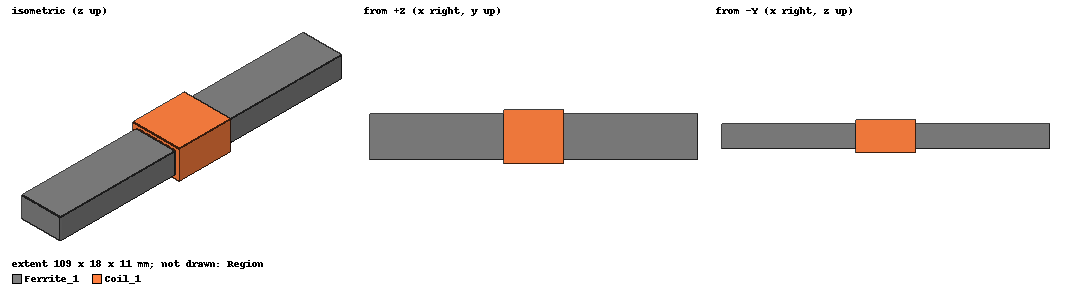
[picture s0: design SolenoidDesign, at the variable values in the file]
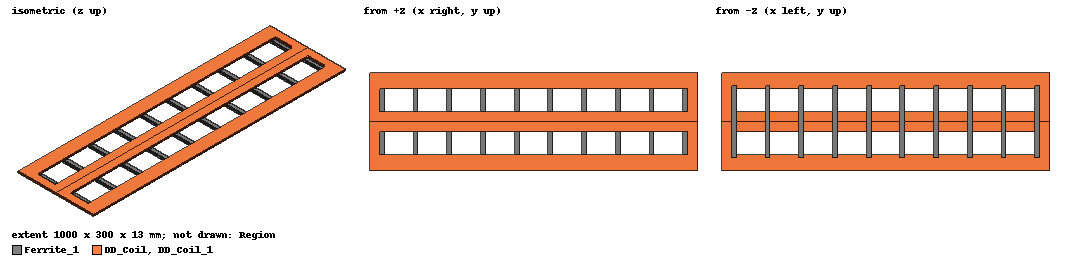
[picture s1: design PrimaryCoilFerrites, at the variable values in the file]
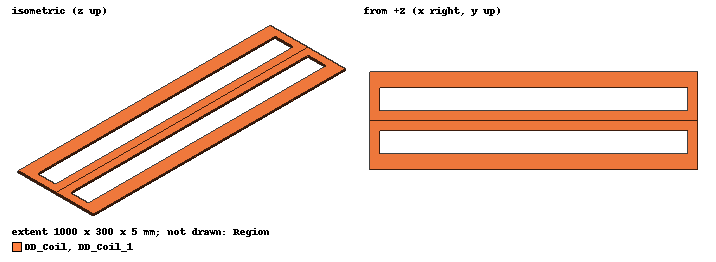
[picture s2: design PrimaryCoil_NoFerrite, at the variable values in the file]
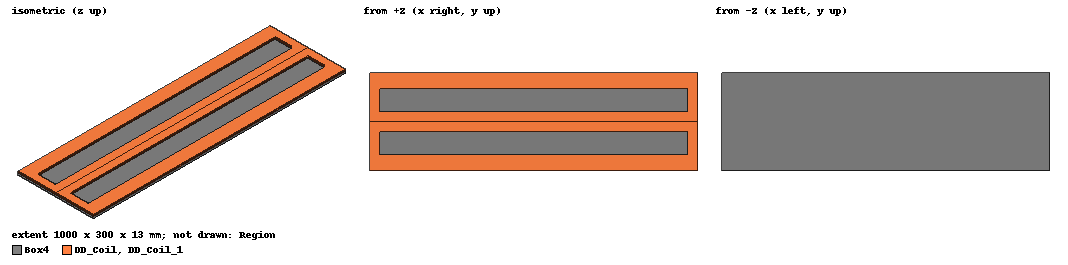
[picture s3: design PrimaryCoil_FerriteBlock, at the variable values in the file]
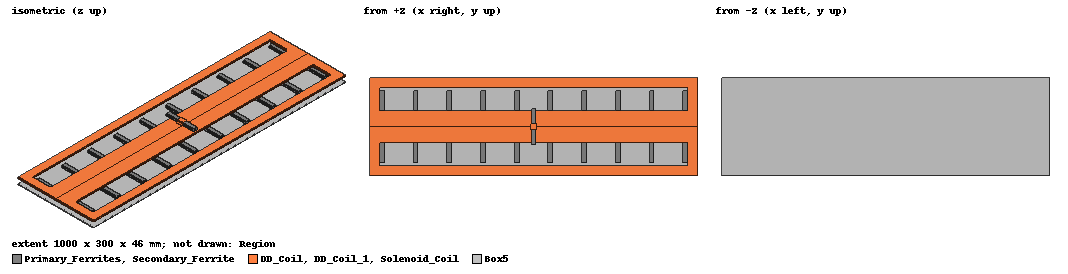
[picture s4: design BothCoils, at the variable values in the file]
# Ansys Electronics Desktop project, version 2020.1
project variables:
  $P1 = 10mm
  $track_width = 300mm
  $box_width = ($track_width - 2*$parameter_2 - $parameter_1) / 2  # Do not change -Width of inner gaps
  $coil_diameter = 5mm  # Thickness of coil
  $parameter_1 = 100mm  # DD Coil Centre width
  $parameter_2 = 30mm  # DD Coil side width
  $Parameter_3 = 109mm  # Ferrite length secondary
  $Parameter_4 = 20mm  # Coil width secondary
  $parameter_5 = ($track_length - 2 * $parameter_2-15mm) / ($Num_Ferrites - 1)  # Do not change - spacing between ferrites
  $Parameter_6 = 218mm  # Ferrite length Primary 109 or 218
  $Num_Ferrites = 10  # ((1000mm - 2 * $parameter_2) / ($parameter_5)) + 1
  $track_length = 1000mm  # Length of the track
  $Air_Gap = 15mm  # Height of secondary solenoid above primary DD coil
  $X_displacement = 0mm  # Displacement of secondary solenoid X-axis(0 to length of track)
  $Y_displacement = 0mm  # displacement of secondary along y-axis
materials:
  vacuum: permittivity=1
  copper: permeability=0.999991 conductivity=58000000
  ferrite: permittivity=12 permeability=1000 conductivity=0.01
  pec: conductivity=1e+30
  aluminum: permeability=1.000021 conductivity=38000000

design SolenoidDesign (Maxwell 3D, Magnetostatic, model units mm)
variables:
  P = 25mm
  Parameter_3 = $Parameter_3
  Parameter_4 = $Parameter_4
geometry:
  Ferrite_1 [ferrite] = box(corner=(-54.5mm, -7.5mm, -4mm), size=(Parameter_3, 15mm, 8mm))
  Coil_1 [copper] = box(corner=(-$Parameter_4/2, -9mm, -5.5mm), size=(Parameter_4, 18mm, 11mm))
  Box3 = box(corner=(-$Parameter_4/2, -7.5mm, -4mm), size=(Parameter_4, 15mm, 8mm))
  Coil_1.subtract(Box3)
  Coil_1_Section1 [copper] = Coil_1.section(plane=XY)
  Coil_1_Section1.separate_bodies()
  Region [vacuum] = region(percentage_offset: +X=200, -X=200, +Y=800, -Y=800, +Z=1000, -Z=600)
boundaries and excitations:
  L_pt: Current Objects=Coil_1_Section1 Current=1A IsSolid=false Point_out_of_terminal=false
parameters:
  Matrix1: Matrix L_pt: NumberOfTurns=20
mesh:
  initial mesh: GlobalCurvilinear{Apply}
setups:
  Setup1: Magnetostatic MaximumPasses=30 MinimumPasses=2 MinimumConvergedPasses=1 PercentRefinement=30 PercentError=1 NonLinearResidual=0.001
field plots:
  B_Vector1: B over a plane on Setup1 : LastAdaptive
  Mesh1: MeshPlots in Coil_1 on Setup1 : LastAdaptive
  Mesh2: MeshPlots in Ferrite_1 on Setup1 : LastAdaptive
  Mesh3: MeshPlots in Region on Setup1 : LastAdaptive
  Mag_B1: B over Ferrite_1.face(+y) on Setup1 : LastAdaptive

design PrimaryCoilFerrites (Maxwell 3D, Magnetostatic, model units mm)
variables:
  b1_y = 50mm
  box1width = 30mm
  box2width = $box_width
  coil_diameter = $coil_diameter
  P_2 = $parameter_2
  P_1 = ($parameter_1) / 2
  Parameter_3 = $Parameter_3
  height_above_coil = 9mm
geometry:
  DD_Coil [copper] = box(corner=(-$track_length / 2, 0mm, 0mm), size=($track_length, $track_width / 2, coil_diameter))
  Box3 = box(corner=(-(1000mm-$parameter_2*2)/2, $parameter_2, 0mm), size=(1000mm-$parameter_2*2, box2width, coil_diameter))
  Box3_1 = Box3.duplicate_mirror(point=(100mm, 150mm, 0mm), normal=(0mm, -1mm, 0mm))
  DD_Coil.subtract(Box3, Box3_1)
  coordinate_system RelativeCS1 = origin=(0mm, 0mm, height_above_coil) x=(1mm, 0mm, 0mm) y=(0mm, 1mm, 0mm)
  Ferrite_1 [ferrite] = box(corner=(-(1000mm-$parameter_2*2)/2, -$Parameter_6/2, -17mm), size=(15mm, $Parameter_6, 8mm)) in RelativeCS1
  Ferrite_1.duplicate_along_line(step=($parameter_5, 0mm, 0mm), total=$Num_Ferrites, attached) in RelativeCS1
  DD_Coil_1 [copper] = DD_Coil.duplicate_mirror(point=(0mm, 0mm, 0mm), normal=(0mm, -1mm, 0mm)) in RelativeCS1
  DD_Coil_1_Section1 = DD_Coil_1.section(plane=YZ) in RelativeCS1
  DD_Coil_Section1 = DD_Coil.section(plane=YZ) in RelativeCS1
  DD_Coil_1_Section1_Separate1 [copper] = DD_Coil_1_Section1.separate_bodies()
  DD_Coil_1_Section1.delete()
  DD_Coil_Section1_Separate1 [copper] = DD_Coil_Section1.separate_bodies()
  DD_Coil_Section1.delete()
  Region [vacuum] = region(percentage_offset: +X=100, -X=100, +Y=500, -Y=500, +Z=3000, -Z=2000)
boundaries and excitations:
  Insulating1: Insulating Faces=DD_Coil.face(-y)
  Lpt_A: Current Objects=DD_Coil_1_Section1_Separate1 Current=1A IsSolid=false Point_out_of_terminal=false
  Lpt_B: Current Objects=DD_Coil_Section1_Separate1 Current=1A IsSolid=false Point_out_of_terminal=false
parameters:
  Matrix1: Matrix Lpt_A, Lpt_B: NumberOfTurns=1
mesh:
  initial mesh: GlobalCurvilinear{Apply}
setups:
  Setup1: Magnetostatic MaximumPasses=10 MinimumPasses=2 MinimumConvergedPasses=1 PercentRefinement=30 PercentError=1 NonLinearResidual=0.001
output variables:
  L_pt = Matrix1.Lnom(Lpt_A,Lpt_A)+Matrix1.Lnom(Lpt_B,Lpt_B)+Matrix1.Lnom(Lpt_B,Lpt_A)+Matrix1.Lnom(Lpt_A,Lpt_B)
  k_pt = Matrix1.CplCoef(Lpt_B,Lpt_A)
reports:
  Output Variables Table 1: L_pt, k_pt vs b1_y on Setup1 : LastAdaptive

design PrimaryCoil_NoFerrite (Maxwell 3D, Magnetostatic, model units mm)
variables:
  b1_y = 50mm
  box1width = 30mm
  box2width = $box_width
  coil_diameter = $coil_diameter
  P_2 = $parameter_2
  P_1 = ($parameter_1) / 2
  Parameter_3 = $Parameter_3
  height_above_coil = 9mm
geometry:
  DD_Coil [copper] = box(corner=(-$track_length / 2, 0mm, 0mm), size=($track_length, $track_width / 2, coil_diameter))
  Box3 = box(corner=(-(1000mm-$parameter_2*2)/2, $parameter_2, 0mm), size=(1000mm-$parameter_2*2, box2width, coil_diameter))
  Box3_1 = Box3.duplicate_mirror(point=(100mm, 150mm, 0mm), normal=(0mm, -1mm, 0mm))
  DD_Coil.subtract(Box3, Box3_1)
  coordinate_system RelativeCS1 = origin=(0mm, 0mm, height_above_coil) x=(1mm, 0mm, 0mm) y=(0mm, 1mm, 0mm)
  DD_Coil_1 [copper] = DD_Coil.duplicate_mirror(point=(0mm, 0mm, 0mm), normal=(0mm, -1mm, 0mm)) in RelativeCS1
  DD_Coil_1_Section1 = DD_Coil_1.section(plane=YZ) in RelativeCS1
  DD_Coil_Section1 = DD_Coil.section(plane=YZ) in RelativeCS1
  DD_Coil_1_Section1_Separate1 [copper] = DD_Coil_1_Section1.separate_bodies()
  DD_Coil_1_Section1.delete()
  DD_Coil_Section1_Separate1 [copper] = DD_Coil_Section1.separate_bodies()
  DD_Coil_Section1.delete()
  Region [vacuum] = region(percentage_offset: +X=100, -X=100, +Y=500, -Y=500, +Z=3000, -Z=2000)
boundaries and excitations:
  Insulating1: Insulating Faces=DD_Coil.face(-y)
  Lpt_A: Current Objects=DD_Coil_1_Section1_Separate1 Current=1A IsSolid=false Point_out_of_terminal=false
  Lpt_B: Current Objects=DD_Coil_Section1_Separate1 Current=1A IsSolid=false Point_out_of_terminal=false
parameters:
  Matrix1: Matrix Lpt_A, Lpt_B: NumberOfTurns=1
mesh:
  initial mesh: GlobalCurvilinear{Apply}
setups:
  Setup1: Magnetostatic MaximumPasses=15 MinimumPasses=2 MinimumConvergedPasses=1 PercentRefinement=30 PercentError=1 NonLinearResidual=0.001
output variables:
  L_pt = Matrix1.Lnom(Lpt_A,Lpt_A)+Matrix1.Lnom(Lpt_B,Lpt_B)+Matrix1.Lnom(Lpt_B,Lpt_A)+Matrix1.Lnom(Lpt_A,Lpt_B)
  k_pt = Matrix1.CplCoef(Lpt_B,Lpt_A)
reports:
  Output Variables Table 1: L_pt, k_pt vs b1_y on Setup1 : LastAdaptive

design PrimaryCoil_FerriteBlock (Maxwell 3D, Magnetostatic, model units mm)
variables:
  b1_y = 50mm
  box1width = 30mm
  box2width = $box_width
  coil_diameter = $coil_diameter
  P_2 = $parameter_2
  P_1 = ($parameter_1) / 2
  Parameter_3 = $Parameter_3
  height_above_coil = 9mm
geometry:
  DD_Coil [copper] = box(corner=(-$track_length / 2, 0mm, 0mm), size=($track_length, $track_width / 2, coil_diameter))
  Box3 = box(corner=(-(1000mm-$parameter_2*2)/2, $parameter_2, 0mm), size=(1000mm-$parameter_2*2, box2width, coil_diameter))
  Box3_1 = Box3.duplicate_mirror(point=(100mm, 150mm, 0mm), normal=(0mm, -1mm, 0mm))
  DD_Coil.subtract(Box3, Box3_1)
  coordinate_system RelativeCS1 = origin=(0mm, 0mm, height_above_coil) x=(1mm, 0mm, 0mm) y=(0mm, 1mm, 0mm)
  DD_Coil_1 [copper] = DD_Coil.duplicate_mirror(point=(0mm, 0mm, 0mm), normal=(0mm, -1mm, 0mm)) in RelativeCS1
  DD_Coil_1_Section1 = DD_Coil_1.section(plane=YZ) in RelativeCS1
  DD_Coil_Section1 = DD_Coil.section(plane=YZ) in RelativeCS1
  DD_Coil_1_Section1_Separate1 [copper] = DD_Coil_1_Section1.separate_bodies()
  DD_Coil_1_Section1.delete()
  DD_Coil_Section1_Separate1 [copper] = DD_Coil_Section1.separate_bodies()
  DD_Coil_Section1.delete()
  Region [vacuum] = region(percentage_offset: +X=100, -X=100, +Y=500, -Y=500, +Z=3000, -Z=2000)
  Box4 [ferrite] = box(corner=(-500mm, -150mm, -8mm), size=(1000mm, 300mm, 8mm))
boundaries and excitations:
  Insulating1: Insulating Faces=DD_Coil.face(-y)
  Lpt_A: Current Objects=DD_Coil_1_Section1_Separate1 Current=1A IsSolid=false Point_out_of_terminal=false
  Lpt_B: Current Objects=DD_Coil_Section1_Separate1 Current=1A IsSolid=false Point_out_of_terminal=false
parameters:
  Matrix1: Matrix Lpt_A, Lpt_B: NumberOfTurns=1
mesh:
  initial mesh: GlobalCurvilinear{Apply}
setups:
  Setup1: Magnetostatic MaximumPasses=15 MinimumPasses=2 MinimumConvergedPasses=1 PercentRefinement=30 PercentError=1 NonLinearResidual=0.001
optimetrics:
  ParametricSetup1: Parametric Sim._Setups=[Setup1]
    sweep $parameter_1: LIN 50mm 125mm 10mm
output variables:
  L_pt = Matrix1.Lnom(Lpt_A,Lpt_A)+Matrix1.Lnom(Lpt_B,Lpt_B)+Matrix1.Lnom(Lpt_B,Lpt_A)+Matrix1.Lnom(Lpt_A,Lpt_B)
  k_pt = Matrix1.CplCoef(Lpt_B,Lpt_A)
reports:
  Output Variables Table 1: L_pt, k_pt vs b1_y on Setup1 : LastAdaptive

design BothCoils (Maxwell 3D, EddyCurrent, model units mm)
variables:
  b1_y = 50mm
  box1width = 30mm
  box2width = $box_width
  coil_diameter = $coil_diameter
  P_2 = $parameter_2
  P_1 = ($parameter_1)
  Parameter_3 = $Parameter_3
  height_above_coil = 9mm
  Parameter_4 = $Parameter_4
  I_pt_post = 20A
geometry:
  DD_Coil [copper] = box(corner=(-$track_length / 2, 0mm, 0mm), size=($track_length, $track_width / 2, coil_diameter))
  Box3 = box(corner=(-(1000mm-$parameter_2*2)/2, $parameter_1 /2, 0mm), size=(1000mm-$parameter_2*2, box2width, coil_diameter))
  Box3_1 = Box3.duplicate_mirror(point=(100mm, 150mm, 0mm), normal=(0mm, -1mm, 0mm))
  DD_Coil.subtract(Box3, Box3_1)
  Primary_Ferrites [ferrite] = box(corner=(-(1000mm-$parameter_2*2)/2, -$Parameter_6/2, -8mm), size=(15mm, $Parameter_6, 8mm))
  Primary_Ferrites.duplicate_along_line(step=($parameter_5, 0mm, 0mm), total=$Num_Ferrites, attached)
  DD_Coil_1 [copper] = DD_Coil.duplicate_mirror(point=(0mm, 0mm, 0mm), normal=(0mm, -1mm, 0mm))
  Region [vacuum] = region(percentage_offset: +X=100, -X=100, +Y=500, -Y=500, +Z=3000, -Z=2000)
  coordinate_system RelativeCS1 = origin=(-$X_displacement, $Y_displacement, $Air_Gap) x=(1mm, 0mm, 0mm) y=(0mm, 1mm, 0mm)
  Secondary_Ferrite [ferrite, oriented by RelativeCS1] = box(corner=(-54.5mm + $Y_displacement, -7.5mm +$X_displacement, $Air_Gap+1.5mm), size=(Parameter_3, 15mm, 8mm))
  Solenoid_Coil [copper, oriented by RelativeCS1] = box(corner=(-$Parameter_4/2 +$Y_displacement, -9mm+$X_displacement, $Air_Gap), size=(Parameter_4, 18mm, 11mm))
  Box4 = box(corner=(-$Parameter_4/2 +$Y_displacement, -7.5mm+$X_displacement, $Air_Gap+1.5mm), size=(Parameter_4, 15mm, 8mm))
  Solenoid_Coil.subtract(Box4)
  [Secondary_Ferrite, Solenoid_Coil].rotate(axis=Z, angle=90deg)
  DD_Coil_1_Section1 = DD_Coil_1.section(plane=YZ)
  DD_Coil_Section1 = DD_Coil.section(plane=YZ)
  DD_Coil_1_Section1_Separate1 [copper] = DD_Coil_1_Section1.separate_bodies()
  DD_Coil_1_Section1.delete()
  DD_Coil_Section1_Separate1 [copper] = DD_Coil_Section1.separate_bodies()
  DD_Coil_Section1.delete()
  Box5 [pec] = box(corner=(500mm, -150mm, -18mm), size=(-1000mm, 300mm, -2mm))
  Solenoid_Coil_Section1 [copper, oriented by RelativeCS1] = Solenoid_Coil.section(plane=YZ) in RelativeCS1
  Solenoid_Coil_Section1.separate_bodies()
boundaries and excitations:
  Insulating1: Insulating Faces=DD_Coil.face(-y)
  Aluminium: Impedance Objects=Box5 UseMaterial MaterialName=aluminum NonlinearCoefficient=5
  Lpt_A: Current Objects=DD_Coil_1_Section1_Separate1 Phase=0deg Current=1A IsSolid=false Point_out_of_terminal=false
  Lpt_B: Current Objects=DD_Coil_Section1_Separate1 Phase=0deg Current=1A IsSolid=false Point_out_of_terminal=false
  Lst: Current Objects=Solenoid_Coil_Section1 Phase=0deg Current=1A IsSolid=false Point_out_of_terminal=false
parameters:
  Matrix1: Matrix Lpt_A, Lpt_B, Lst:
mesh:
  initial mesh: GlobalCurvilinear{Apply}
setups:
  Setup1: EddyCurrent MaximumPasses=17 MinimumPasses=2 MinimumConvergedPasses=1 PercentRefinement=30 PercentError=1 NonLinearResidual=0.0001 Frequency=150kHz
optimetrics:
  ParametricSetup1: Parametric disabled
    sweep $parameter_1: LIN 20mm 100mm 20mm
    sweep $parameter_2: LIN 10mm 50mm 10mm
    sweep $Parameter_4: LIN 10mm 30mm 10mm
    sweep $Num_Ferrites: LIN 2 10 1
    sweep $Parameter_6: LIN 109mm 218mm 109mm
    calculate k_new on ?
    calculate Lpt_new on ?
    calculate L_st on ?
  ParametricSetup2: Parametric disabled
    sweep $parameter_1: LIN 20mm 100mm 40mm
    sweep $parameter_2: LIN 10mm 50mm 20mm
    sweep $Parameter_4: LIN 10mm 30mm 10mm
    sweep $Num_Ferrites: LIN 2 12 4
    sweep $Parameter_6: LIN 109mm 218mm 109mm
    calculate k_new on ?
    calculate Mpt_st on ?
  ParametricSetup3: Parametric Sim._Setups=[Setup1]
    sweep $X_displacement: LIN 45mm 0mm -3mm
    sweep $Y_displacement: LIN 0mm 50mm 3mm
    calculate Lpt_new on Setup1 : LastAdaptive at Freq 150kHz
    calculate L_st on Setup1 : LastAdaptive at Freq 150kHz
    calculate k_new on Setup1 : LastAdaptive at Freq 150kHz
    calculate Mpt_st on Setup1 : LastAdaptive at Freq 150kHz
  ParametricSetup4: Parametric disabled Sim._Setups=[Setup1]
    sweep $parameter_1: LIN 50mm 100mm 30mm
    sweep $parameter_2: LIN 10mm 30mm 10mm
    calculate L_st on Setup1 : LastAdaptive at Freq 100kHz
    calculate Lpt_new on Setup1 : LastAdaptive at Freq 100kHz
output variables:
  Mpt_st = Matrix1.Lnom(Lpt_A,Lst)+Matrix1.Lnom(Lpt_B,Lst)
  Lpt_new = Matrix1.Lnom(Lpt_A,Lpt_A)+Matrix1.Lnom(Lpt_B,Lpt_B)+Matrix1.Lnom(Lpt_B,Lpt_A)+Matrix1.Lnom(Lpt_A,Lpt_B)
  k_new = Mpt_st/sqrt(Lpt_new*L_st)
  M = 5*10*L_st*Lpt_new
  I_pt = 20
  VA_pt = 20*20*100000*2*pi*Lpt_new
  L_st = Matrix1.Lnom(Lst,Lst)
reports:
  Output Variables Plot 1: k_new vs $X_displacement on Setup1 : LastAdaptive [Phase=0deg Freq=all $Y_displacement=all]
  Output Variables Plot 2: k_new vs $Y_displacement on Setup1 : LastAdaptive [Phase=0deg Freq=all $X_displacement=all]
  Output Variables Table 1: k_new vs $Y_displacement on Setup1 : LastAdaptive [$X_displacement=all Freq=all]
  Output Variables Table 2: Lpt_new vs Freq on Setup1 : LastAdaptive [$X_displacement=all $Y_displacement=all]
  Output Variables Table 3: Mpt_st vs Freq on Setup1 : LastAdaptive [Phase=0deg $X_displacement=all $Y_displacement=all]
